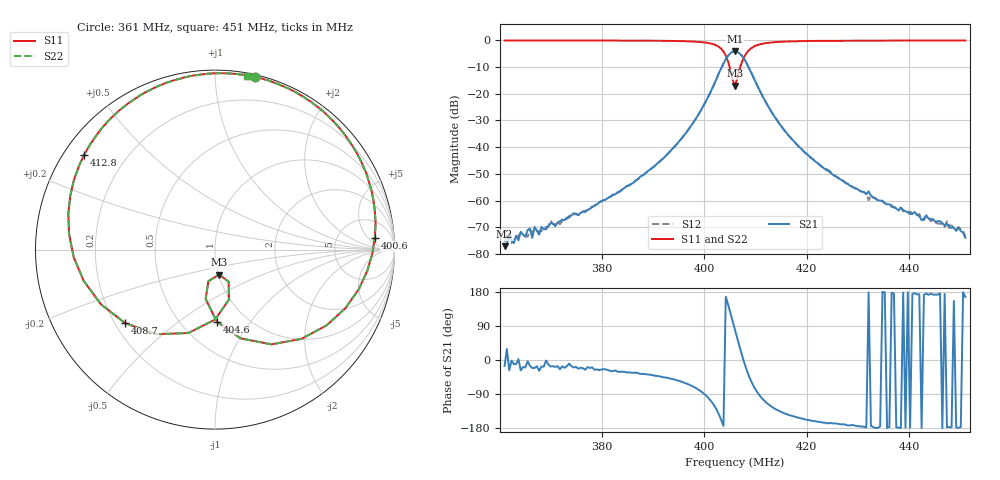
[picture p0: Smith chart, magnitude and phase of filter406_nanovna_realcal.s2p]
# MHz S MA R 50
!  freq  S11  S21  S12  S22
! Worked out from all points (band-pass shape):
!   201 points, 361 MHz to 451 MHz, reference 50 ohm
!   highest |S21| = -4.20 dB at 406 MHz (marker M1); lowest = -77.1 dB at 361 MHz (marker M2)
!   |S21| within 3 dB of the highest: 404.2 MHz to 407.8 MHz (3.673 MHz wide, 0.905 % of centre)
!   lowest |S11| = -17.0 dB at 406 MHz (marker M3), VSWR 1.33, Z = 50.3 - j14.3 ohm
!   |S11| at or under -10 dB: 404.9 MHz to 407 MHz (2.089 MHz wide, 0.515 % of centre)
!   |S22| runs from -17.0 to -0.1 dB; largest |S21 - S12| = 0.001
!   S11 on the Smith chart (normalised r, x): 361 MHz: 0.02, +1.26; 400.6 MHz: 12, +8; 404.6 MHz: 0.74, -0.70; 408.7 MHz: 0.24, -0.34; 412.8 MHz: 0.06, +0.32; 451 MHz: 0.02, +1.20
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361  0.9877 76.9  0.00014 -15.7  0.00017 -31.8  0.9878 76.9
361.9  0.989 76.5  0.00022 -27.2  0.00025 -22.1  0.9893 76.5
362.35  0.9886 76.4  0.00018 -1.8  0.00016 4.0  0.9891 76.4
364.15  0.989 75.5  0.00026 -27.2  0.00025 -27.6  0.9889 75.4
376.3  0.9866 68.7  0.00062 -21.7  0.00063 -18.6  0.9863 68.6
391.15  0.9764 50.9  0.00523 -42.7  0.0052 -43.0  0.9761 51.0
397  0.9519 31.9  0.02186 -64.8  0.02187 -64.8  0.9525 31.9
400.6  0.8926 4.2  0.08133 -97.3  0.0813 -97.3  0.8927 4.2
403.3  0.6919 -46.0  0.2972 -157.8  0.2971 -157.8  0.6919 -46.0
404.65  0.4009 -88.7  0.5125 146.7  0.5125 146.7  0.4012 -88.6
406  0.1411 -80.5  0.6166 79.3  0.6166 79.2  0.141 -80.7
407.35  0.389 -89.8  0.512 13.5  0.5119 13.5  0.3889 -89.8
408.7  0.6469 -140.7  0.3067 -41.6  0.3068 -41.7  0.6472 -140.7
410.05  0.7888 -177.0  0.1632 -78.8  0.1631 -78.7  0.7882 -176.9
412.75  0.9002 144.0  0.05238 -119.3  0.05238 -119.3  0.9003 144.0
415.9  0.9441 122.5  0.01922 -142.1  0.01921 -142.1  0.944 122.6
421.3  0.9683 105.2  0.00582 -160.6  0.00583 -160.6  0.9687 105.2
432.1  0.9818 90.4  0.00149 178.1  0.00102 -166.0  0.9824 90.5
436.15  0.9832 87.3  0.00085 -176.5  0.00084 -178.2  0.9828 87.3
446.95  0.9869 81.2  0.00034 174.5  0.00032 175.3  0.9866 81.2
447.4  0.9862 80.9  0.00037 -177.6  0.00041 -175.2  0.9863 80.9
451  0.9865 79.4  0.0002 166.6  0.00021 163.6  0.9865 79.5
